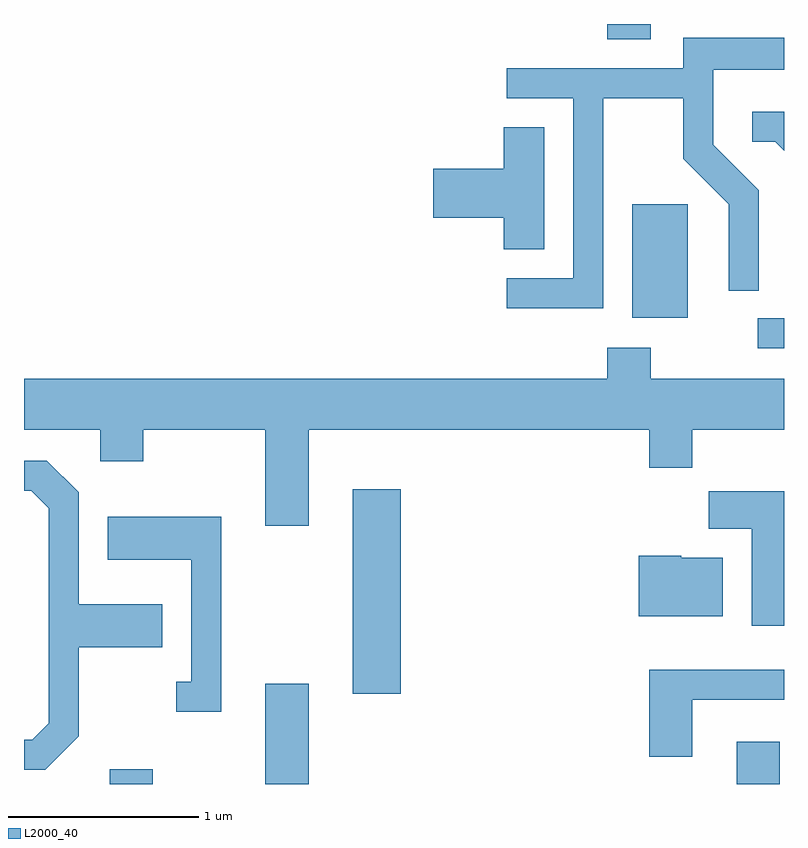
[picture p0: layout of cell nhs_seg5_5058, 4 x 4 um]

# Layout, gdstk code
import gdstk
lib = gdstk.Library(unit=1e-6, precision=1e-09)
def R(c, l, rs):  # rectangles x0, y0, x1, y1
    for r in rs: c.add(gdstk.rectangle(r[:2], r[2:], *l))
def P(c, l, *ps):  # polygons
    for p in ps: c.add(gdstk.Polygon(p, *l))
L2000_40 = (2000, 40)

nhs_seg5_5058 = lib.new_cell('nhs_seg5_5058')
R(nhs_seg5_5058, L2000_40, [(336.061,1426.072,336.289,1426.149), (336.881,1426.072,337.109,1426.599), (339.361,1426.072,339.589,1426.294), (337.341,1426.546,337.594,1427.624), (339.473,1428.366,339.611,1428.524), (338.811,1428.526,339.104,1429.124), (338.681,1429.991,338.909,1430.072)])
P(nhs_seg5_5058, L2000_40, [(338.659,1429.681),(339.081,1429.681),(339.081,1429.364),(339.321,1429.124),(339.321,1428.668),(339.479,1428.668),(339.479,1429.197),(339.239,1429.437),(339.239,1429.831),(339.611,1429.831),(339.611,1429.999),(339.081,1429.999),(339.081,1429.839),(338.153,1429.839),(338.153,1429.681),(338.501,1429.681),(338.501,1428.734),(338.153,1428.734),(338.153,1428.576),(338.659,1428.576)],
  [(339.611,1429.609),(339.443,1429.609),(339.443,1429.451),(339.564,1429.451),(339.611,1429.404)],
  [(338.349,1429.529),(338.136,1429.529),(338.136,1429.309),(337.766,1429.309),(337.766,1429.051),(338.136,1429.051),(338.136,1428.886),(338.349,1428.886)],
  [(337.109,1427.936),(338.901,1427.936),(338.901,1427.736),(339.129,1427.736),(339.129,1427.936),(339.611,1427.936),(339.611,1428.204),(338.909,1428.204),(338.909,1428.369),(338.681,1428.369),(338.681,1428.204),(335.611,1428.204),(335.611,1427.936),(336.011,1427.936),(336.011,1427.771),(336.239,1427.771),(336.239,1427.936),(336.881,1427.936),(336.881,1427.431),(337.109,1427.431)],
  [(335.899,1426.324),(335.899,1426.791),(336.339,1426.791),(336.339,1427.019),(335.899,1427.019),(335.899,1427.607),(335.732,1427.774),(335.611,1427.774),(335.611,1427.616),(335.649,1427.616),(335.741,1427.524),(335.741,1426.392),(335.654,1426.304),(335.611,1426.304),(335.611,1426.146),(335.722,1426.146)],
  [(339.611,1427.614),(339.216,1427.614),(339.216,1427.416),(339.441,1427.416),(339.441,1426.906),(339.611,1426.906)],
  [(336.649,1427.479),(336.051,1427.479),(336.051,1427.251),(336.491,1427.251),(336.491,1426.609),(336.413,1426.609),(336.413,1426.451),(336.649,1426.451)],
  [(339.289,1427.264),(339.07,1427.264),(339.07,1427.274),(338.846,1427.274),(338.846,1426.956),(339.289,1426.956)],
  [(339.129,1426.516),(339.611,1426.516),(339.611,1426.674),(338.901,1426.674),(338.901,1426.216),(339.129,1426.216)])

lib.write_gds('nhs_seg5_5058.gds')
